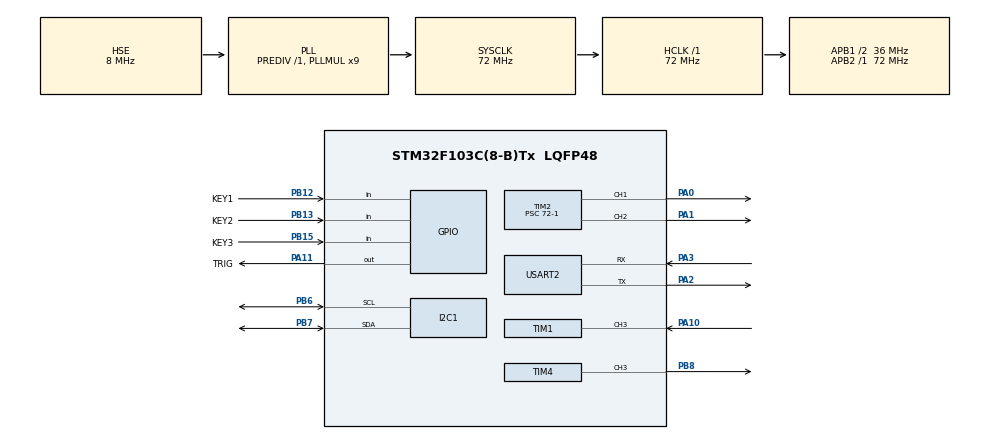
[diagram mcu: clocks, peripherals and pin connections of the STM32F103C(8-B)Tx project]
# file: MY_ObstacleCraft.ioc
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I2C1.I2C_Mode=I2C_Fast
Mcu.Family=STM32F1
Mcu.Name=STM32F103C(8-B)Tx
Mcu.Package=LQFP48
NVIC.PriorityGroup=NVIC_PRIORITYGROUP_4
NVIC.TIM1_CC_IRQn=true\:0\:0\:false\:false\:true\:true\:true\:true
PA0-WKUP.Signal=S_TIM2_CH1_ETR
PA1.Signal=S_TIM2_CH2
PA10.Signal=S_TIM1_CH3
PA11.GPIO_Label=TRIG
PA11.Signal=GPIO_Output
PA13.Mode=Serial_Wire
PA13.Signal=SYS_JTMS-SWDIO
PA14.Mode=Serial_Wire
PA14.Signal=SYS_JTCK-SWCLK
PA2.Mode=Asynchronous
PA2.Signal=USART2_TX
PA3.Mode=Asynchronous
PA3.Signal=USART2_RX
PB12.GPIO_Label=KEY1
PB12.GPIO_PuPd=GPIO_PULLUP
PB12.Signal=GPIO_Input
PB13.GPIO_Label=KEY2
PB13.GPIO_PuPd=GPIO_PULLUP
PB13.Signal=GPIO_Input
PB15.GPIO_Label=KEY3
PB15.GPIO_PuPd=GPIO_PULLUP
PB15.Signal=GPIO_Input
PB6.Mode=I2C
PB6.Signal=I2C1_SCL
PB7.Mode=I2C
PB7.Signal=I2C1_SDA
PB8.Signal=S_TIM4_CH3
PD0-OSC_IN.Mode=HSE-External-Oscillator
PD0-OSC_IN.Signal=RCC_OSC_IN
PD1-OSC_OUT.Mode=HSE-External-Oscillator
PD1-OSC_OUT.Signal=RCC_OSC_OUT
ProjectManager.HeapSize=0x200
ProjectManager.StackSize=0x400
ProjectManager.TargetToolchain=STM32CubeIDE
RCC.AHBFreq_Value=72000000
RCC.APB1CLKDivider=RCC_HCLK_DIV2
RCC.APB1Freq_Value=36000000
RCC.APB1TimFreq_Value=72000000
RCC.APB2Freq_Value=72000000
RCC.APB2TimFreq_Value=72000000
RCC.HCLKFreq_Value=72000000
RCC.PLLMUL=RCC_PLL_MUL9
RCC.PLLSourceVirtual=RCC_PLLSOURCE_HSE
RCC.SYSCLKFreq_VALUE=72000000
RCC.SYSCLKSource=RCC_SYSCLKSOURCE_PLLCLK
RCC.USBFreq_Value=72000000
SH.S_TIM1_CH3.0=TIM1_CH3,Input_Capture3_from_TI3
SH.S_TIM2_CH1_ETR.0=TIM2_CH1,PWM Generation1 CH1
SH.S_TIM2_CH2.0=TIM2_CH2,PWM Generation2 CH2
SH.S_TIM4_CH3.0=TIM4_CH3,PWM Generation3 CH3
TIM1.Channel-Input_Capture3_from_TI3=TIM_CHANNEL_3
TIM1.ICFilter_CH3=15
TIM1.Prescaler=72-1
TIM2.Channel-PWM\ Generation1\ CH1=TIM_CHANNEL_1
TIM2.Channel-PWM\ Generation2\ CH2=TIM_CHANNEL_2
TIM2.Period=100-1
TIM2.Prescaler=72-1
TIM4.Channel-PWM\ Generation3\ CH3=TIM_CHANNEL_3
TIM4.Period=2000-1
TIM4.Prescaler=720-1
USART2.VirtualMode=VM_ASYNC
VP_TIM1_VS_ClockSourceINT.Mode=Internal
VP_TIM2_VS_ClockSourceINT.Mode=Internal
VP_TIM4_VS_ClockSourceINT.Mode=Internal
board=custom

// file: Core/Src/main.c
/* USER CODE BEGIN Header */
/**
 ******************************************************************************
 * @file           : main.c
 * @brief          : 主程序入口 — MY_ObstacleCraft 自动避障小车
 *
 * ─────────────────────────────────────────────────────────────
 * 📌 工程目标：
 *    基于 STM32F103C8 的自动避障小车。
 *    前轮由 DRV8833 驱动直流电机，前部搭载 HC-SR04 超声波传感器，
 *    顶部由 SG-90 舵机控制方向。
 *
 * 🧩 模块分工：
 *    main.c       → 程序入口，硬件初始化，OLED回调，主循环调度
 *    app.c        → 避障状态机（当前处于哪个阶段？该做什么？）
 *    HC-SR04.c    → 超声波测距（非阻塞输入捕获模式）
 *    SG-90.c      → 舵机控制（指数平滑，步态柔和）
 *    DRV8833.c    → 电机驱动（PWM正反转控制）
 *    oled.c       → OLED 屏幕显示
 *    key.c        → 按键事件处理
 *
 * 🔄 主循环节拍：
 *    每 50ms 执行一次 App_Loop() → 测距 → 状态判断 → 控制输出
 *
 * 🔌 引脚分配（关键）：
 *    PA10 → TIM1_CH3 → HC-SR04 Echo（输入捕获）
 *    PA11 → TRIG      → HC-SR04 Trig（GPIO 输出）
 *    PB8  → TIM4_CH3  → SG-90 舵机 PWM
 *    TIM2 → CH1=正转, CH2=反转 → DRV8833 电机
 *    PB12/13/15 → 按键 KEY1/2/3
 *
 * 📐 系统时钟：HSE 8MHz → PLL ×9 → SYSCLK 72MHz
 ******************************************************************************
 */
/* USER CODE END Header */
#include "main.h"
#include "i2c.h"
#include "tim.h"
#include "usart.h"
#include "gpio.h"

/* USER CODE BEGIN Includes */
#include "oled.h"
#include "app.h"
/* USER CODE END Includes */

void SystemClock_Config(void);

/* USER CODE BEGIN 0 */
/***** 第1部分：用户自定义代码 — CubeMX 不会覆盖的区域 *****/

/*
 * ================================================================
 * 函数：Main_OLEDI2CWrite（OLED I2C 写入回调函数）
 * ================================================================
 *
 * 🔑 什么是"回调函数"？
 *   简单说就是：我们把"怎么用 I2C 发数据"这个具体操作打包成一个函数,
 *   然后把这个函数的地址告诉 oled.c。oled.c 需要发数据的时候就自动调用它。
 *   这样 oled.c 只关心"发什么"，不关心"怎么发"。
 *   以后换 SPI 屏幕？只需要换一个回调函数，oled.c 不用改。
 *   这就是"解耦"——模块之间互相不依赖具体实现。
 *
 * 📋 参数解释：
 *   devAddr   ：I2C 设备地址（0x7A，OLED 的 I2C 地址）
 *   data      ：要发送的数据（比如你要显示 "Hello"，就是 H/e/l/l/o 的 ASCII 码）
 *   len       ：数据长度（几个字节）
 *   timeoutMs ：超时时间，超过这个时间还没发完就算失败
 *   userCtx   ：用户自定义数据，这里传了 I2C 句柄 &hi2c1
 *
 * 🔒 static 关键字：
 *   这个函数前面加了 static，意味着"只有 main.c 内部能看到它"。
 *   其他 .c 文件想调也调不到，防止命名冲突。这叫"文件作用域"。
 *
 * 📦 返回值 HAL_StatusTypeDef：
 *   HAL_OK    → 发送成功
 *   HAL_ERROR → 发送失败
 */
static HAL_StatusTypeDef Main_OLEDI2CWrite(uint16_t devAddr,
                                           const uint8_t *data,
                                           uint16_t len,
                                           uint32_t timeoutMs,
                                           void *userCtx)
{
  /*
   * 🔄 void* 类型转换（Type Casting）：
   *   userCtx 声明为 void*，意思是"我不知道具体是什么类型，先通用地传进来"。
   *   但我们知道调用时传进来的是 I2C_HandleTypeDef 类型的 &hi2c1,
   *   所以用 (I2C_HandleTypeDef*) 把它"强转"回本来面目。
   *
   *   类比：void* 就像"快递盒"，我们拆开后发现里面是手机,
   *   就把手机当手机用，而不是当杯子用。
   */
  I2C_HandleTypeDef *hi2c = (I2C_HandleTypeDef *)userCtx;

  /*
   * 🛡️ 空指针检查（NULL Check）—— 嵌入式必修课
   *   如果 userCtx 传错了（比如传了 NULL），hi2c 就是空指针。
   *   此时如果执行下一行 HAL_I2C_Master_Transmit，CPU 会访问地址 0,
   *   触发硬件错误（HardFault），程序死机重启。
   *
   *   养成习惯：收到指针参数，先判断是不是 NULL。
   *   这叫"防御性编程"——不信任任何外部输入。
   */
  if (hi2c == NULL)
  {
    return HAL_ERROR;
  }

  /*
   * 📤 HAL_I2C_Master_Transmit — HAL 库的 I2C 发送函数
   *
   *   参数逐个看：
   *     hi2c     → &hi2c1（I2C1 外设的句柄，CubeMX 自动生成的全局变量）
   *     devAddr  → 0x7A（OLED 的 I2C 地址）
   *     data     → 要发送的数据（强制去掉 const，因为 HAL 接口没加 const）
   *     len      → 数据长度
   *     timeoutMs→ 20ms 超时
   *
   *   ❓ 为什么 data 是 const 但 HAL 要非 const？
   *     这是 HAL 库设计上的小疏忽——它应该加 const 但没加。
   *     我们作为调用方，强制类型转换一下就行，实际运行没问题。
   */
  return HAL_I2C_Master_Transmit(hi2c, devAddr, (uint8_t *)data, len, timeoutMs);
}
/* USER CODE END 0 */

/**
  * @brief  程序入口点（The application entry point）
  * @note   MCU 上电/复位后，第一条执行的代码就是这里。
  *         就像你在学校里的"开学典礼"——先做准备工作，然后开始上课。
  * @retval int — 嵌入式 main 函数永远不会返回，所以这里的 return 只是形式。
  */
int main(void)
{

  /* USER CODE BEGIN 1 */
  /*
   * 这里可以放一些"在 HAL 初始化之前就要做的事"。
   * 极少用到，留空即可。
   */
  /* USER CODE END 1 */

  /* MCU Configuration--------------------------------------------------------*/

  /*
   * 🔧 HAL_Init() — HAL 库的"总开关"
   *   做了三件事：
   *   1. 设置 SysTick 定时器（提供 HAL_GetTick() 的 1ms 时基）
   *   2. 设置 NVIC 优先级分组（决定中断谁的优先级更高）
   *   3. 初始化一些内部变量
   *
   *   ❗特别重要：HAL_GetTick() 从这一刻开始才能正常工作！
   *     在这之前调用 HAL_Delay() 或 HAL_GetTick() 会导致死机。
   */
  HAL_Init();

  /*
   * ⏰ SystemClock_Config() — 配置系统时钟
   *   STM32 上电后默认用内部 8MHz 的 HSI 振荡器。
   *   这个函数把它切换到外部 8MHz 晶振（HSE），然后通过 PLL 倍频到 72MHz。
   *   72MHz = 8MHz(HSE) × 9(PLL倍频)
   *   就像给 CPU "超频"——从 8MHz 到 72MHz，快了 9 倍。
   */
  SystemClock_Config();

  /*
   * 🔌 MX_XXX_Init() — 初始化各个外设
   *   这些 MX_ 开头的函数都是 CubeMX 自动生成的。
   *   它们按照 .ioc 文件里的配置，把各个外设的寄存器写对。
   *
   *   执行顺序有讲究：
   *     1. MX_GPIO_Init()      → 先初始化引脚（GPIO），因为别的外设可能依赖引脚模式
   *     2. MX_I2C1_Init()      → I2C 总线（给 OLED 屏幕用）
   *     3. MX_TIM1_Init()      → TIM1：输入捕获模式（给 HC-SR04 超声波测距用）
   *     4. MX_TIM2_Init()      → TIM2：PWM 输出模式（给 DRV8833 电机驱动用）
   *     5. MX_TIM4_Init()      → TIM4：PWM 输出模式（给 SG-90 舵机用）
   *     6. MX_USART2_UART_Init() → 串口（调试用，可以接 USB 转串口看打印信息）
   *
   *   注意：这里只初始化了硬件寄存器，还没启动具体功能。
   *   比如 TIM1 初始化了输入捕获模式，但还没开始真正捕获。
   *   "启动"是在各模块的 Init 函数（如 HC_SR04_Init）里做的。
   */
  MX_GPIO_Init();
  MX_I2C1_Init();
  MX_TIM1_Init();
  MX_TIM2_Init();
  MX_TIM4_Init();
  MX_USART2_UART_Init();

  /* USER CODE BEGIN 2 */
  /***** 第2部分：应用层初始化（CubeMX 不会覆盖的区域） *****/

  /*
   * 📺 OLED 初始化三步走：
   *   1. OLED_SetWriteCallback — 告诉 oled.c："你要发数据就调我这个函数"
   *      就像把"快递员的电话"存到通讯录里，需要送货时直接打电话。
   *   2. OLED_SetBusConfig — 设置地址和超时
   *   3. OLED_Init() — 给 OLED 屏幕发送初始化指令序列
   *      告诉它：开始工作、清屏、设置对比度等。
   *
   *   HAL_Delay(10) 是为了等 OLED 内部初始化完成。
   *   就像刚开机时等几秒，让屏幕"反应过来"。
   */
  OLED_SetWriteCallback(Main_OLEDI2CWrite, &hi2c1);
  OLED_SetBusConfig(0x7AU, 20U);
  OLED_Init();
  HAL_Delay(10);

  /*
   * 🚀 App_Init() — 我们自己的应用初始化
   *   在 app.c 中定义，做了这些事：
   *   - 初始化按键（Key_Init）
   *   - 启动超声波传感器（HC_SR04_Init）
   *   - 启动舵机 PWM（SG90_Init）
   *   - 配置电机驱动（DRV8833_Init）
   *   - 设置初始状态为 STATE_IDLE（空闲等待）
   *   - 在 OLED 上显示第一帧画面
   */
  App_Init();

  /* USER CODE END 2 */

  /* Infinite loop */
  /* USER CODE BEGIN WHILE */
  /*
   * 🔄 主循环（Super Loop）—— 嵌入式程序的"心脏"
   *
   *   没有操作系统（FreeRTOS）的 STM32 程序，全都是这种结构：
   *     while(1) { 做一件事; }
   *
   *   while(1) 的意思是"永远循环，不要停"。
   *   如果跳出这个循环，CPU 就不知道执行什么了——程序就"跑了"。
   *
   *   每次循环：
   *   1. 调用 App_Loop() — 检查传感器、更新状态、控制电机和舵机
   *   2. 回到循环开头，再来一次
   *
   *   App_Loop 内部有 50ms 的节拍控制（通过 HAL_GetTick 判断）,
   *   所以不会疯狂空转，也不会卡死。
   */
  while (1)
  {
    App_Loop();
    /* USER CODE END WHILE */

  }
}

void SystemClock_Config(void)
{
  /*
   * RCC_OscInitTypeDef 和 RCC_ClkInitTypeDef 是两个结构体,
   * 用来描述"时钟从哪里来"和"时钟要去哪里"。
   * {0} 的意思是"先全部清零"，避免未初始化的成员产生随机值。
   */
  RCC_OscInitTypeDef RCC_OscInitStruct = {0};
  RCC_ClkInitTypeDef RCC_ClkInitStruct = {0};

  /***** 第一步：配置振荡器（Oscillator）*****/

  /*
   * OscillatorType：我们要配置哪些振荡器？
   *   这里用 HSE（外部高速晶振）和 HSI（内部高速振荡器）。
   */
  RCC_OscInitStruct.OscillatorType = RCC_OSCILLATORTYPE_HSE;

  /*
   * HSEState：HSE 要不要开启？
   *   RCC_HSE_ON → 开启外部 8MHz 晶振
   */
  RCC_OscInitStruct.HSEState = RCC_HSE_ON;

  /*
   * HSEPredivValue：HSE 预分频值
   *   STM32F103 的 HSE 可以经过一个预分频器再进 PLL。
   *   RCC_HSE_PREDIV_DIV1 = 不分频，8MHz 直接进 PLL。
   */
  RCC_OscInitStruct.HSEPredivValue = RCC_HSE_PREDIV_DIV1;

  /*
   * HSIState：内部 8MHz 振荡器
   *   开启 HSI 作为备用，万一 HSE 失效了还有内部时钟可以用。
   */
  RCC_OscInitStruct.HSIState = RCC_HSI_ON;

  /*
   * PLL（锁相环）配置——相当于"频率倍增器"
   *   PLLState：开启 PLL
   *   PLLSource：PLL 的输入时钟源用 HSE
   *   PLLMUL：倍频系数 ×9 → 8MHz × 9 = 72MHz
   */
  RCC_OscInitStruct.PLL.PLLState = RCC_PLL_ON;
  RCC_OscInitStruct.PLL.PLLSource = RCC_PLLSOURCE_HSE;
  RCC_OscInitStruct.PLL.PLLMUL = RCC_PLL_MUL9;

  /*
   * HAL_RCC_OscConfig：把上面的配置"写入"寄存器
   *   如果配置不对（比如晶振没焊、频率超出范围），返回 HAL_ERROR。
   *   这时调用 Error_Handler() 死循环，提示"出错了"。
   */
  if (HAL_RCC_OscConfig(&RCC_OscInitStruct) != HAL_OK)
  {
    Error_Handler();
  }

  /***** 第二步：配置时钟总线 *****/

  /*
   * ClockType：我们要配置哪些总线时钟？
   *   HCLK  = AHB 总线时钟（CPU、内存、Flash 都在 AHB 上）
   *   SYSCLK = 系统时钟（CPU 核心时钟）
   *   PCLK1 = APB1 外设总线时钟（低速外设）
   *   PCLK2 = APB2 外设总线时钟（高速外设）
   */
  RCC_ClkInitStruct.ClockType = RCC_CLOCKTYPE_HCLK | RCC_CLOCKTYPE_SYSCLK
                              | RCC_CLOCKTYPE_PCLK1 | RCC_CLOCKTYPE_PCLK2;

  /*
   * SYSCLKSource：系统时钟来源选 PLL 输出（72MHz）
   */
  RCC_ClkInitStruct.SYSCLKSource = RCC_SYSCLKSOURCE_PLLCLK;

  /*
   * AHBCLKDivider：AHB 预分频（/1 = 不分频）
   *   AHB 时钟 = SYSCLK / 1 = 72MHz
   */
  RCC_ClkInitStruct.AHBCLKDivider = RCC_SYSCLK_DIV1;

  /*
   * APB1CLKDivider：APB1 预分频（/2）
   *   APB1 时钟 = AHB时钟 / 2 = 36MHz
   *   APB1 上的外设：I2C1、USART2、TIM2/TIM3/TIM4
   *   注意：TIM2/3/4 在 APB1 上，如果 APB1 分频 ≠ 1,
   *   定时器的时钟会"偷偷"翻倍为 72MHz。
   */
  RCC_ClkInitStruct.APB1CLKDivider = RCC_HCLK_DIV2;

  /*
   * APB2CLKDivider：APB2 预分频（/1 = 不分频）
   *   APB2 时钟 = AHB时钟 / 1 = 72MHz
   *   APB2 上的外设：TIM1、GPIO A~E、USART1、ADC
   */
  RCC_ClkInitStruct.APB2CLKDivider = RCC_HCLK_DIV1;

  /*
   * HAL_RCC_ClockConfig：应用上面的时钟配置
   *   第二个参数 FLASH_LATENCY_2 是"Flash 等待周期"。
   *   72MHz 时，Flash 的速度跟不上 CPU，所以要插入 2 个等待周期。
   *   就像 CPU 问 Flash"我要数据"，Flash 说"等一下，我在找"，
   *   CPU 就等 2 个时钟周期再拿数据。
   */
  if (HAL_RCC_ClockConfig(&RCC_ClkInitStruct, FLASH_LATENCY_2) != HAL_OK)
  {
    Error_Handler();
  }
}

/**
  * @brief  错误处理函数 — 当 HAL 库检测到异常时调用
  * @note   这里我们做了最"粗暴"的处理：关闭所有中断，然后死循环。
  *         在实际产品中，这里可以记录错误码、闪烁 LED 告警等。
  *
  *         __disable_irq()：关闭全局中断。
  *         为什么这么做？因为出错了就不要再响应任何中断了,
  *         避免在错误状态下"雪上加霜"。
  */
void Error_Handler(void)
{
  /* USER CODE BEGIN Error_Handler_Debug */
  __disable_irq();  // 关全局中断（CPU 不再响应任何中断请求）
  while (1)         // 死循环，卡在这里不动了
  {
    /*
     * 这里看似什么都没做，实际上 CPU 在疯狂空转。
     * 可以加个 LED 闪烁提示——但本例程没配置错误指示 LED。
     * 可以自己加：HAL_GPIO_TogglePin(LED_GPIO_Port, LED_Pin);
     * HAL_Delay(500);  // 记得先开个定时器
     */
  }
  /* USER CODE END Error_Handler_Debug */
}
